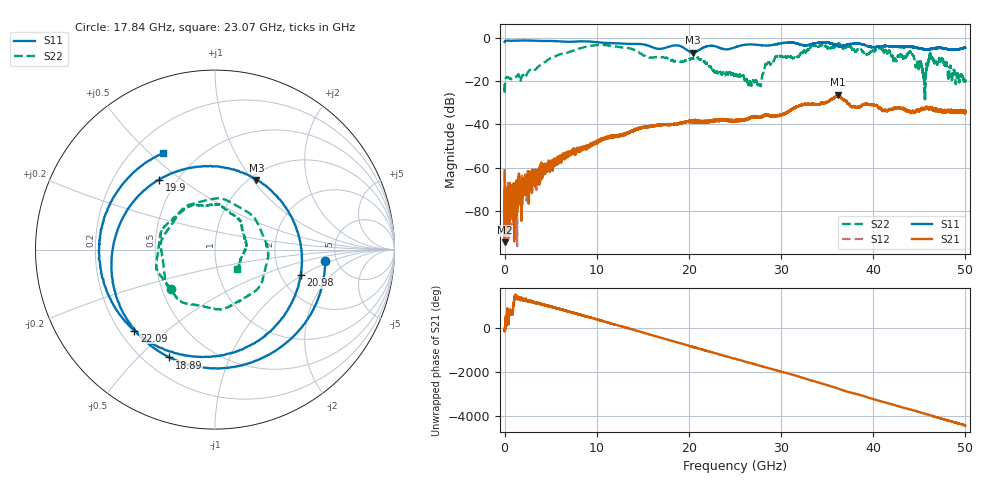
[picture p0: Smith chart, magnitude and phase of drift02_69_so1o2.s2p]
!Created with skrf (http://scikit-rf.org).
# Hz S RI R 50.0
!freq ReS11 ImS11 ReS21 ImS21 ReS12 ImS12 ReS22 ImS22
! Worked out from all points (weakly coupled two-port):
!   10001 points, 300 kHz to 50 GHz, reference 50 ohm
!   highest |S21| = -26.28 dB at 36.13 GHz (marker M1); lowest = -94.3 dB at 5.3 MHz (marker M2)
!   lowest |S11| = -6.9 dB at 20.4 GHz (marker M3), VSWR 2.65, Z = 53.6 + j52.2 ohm
!   |S11| at or under -10 dB: nowhere
!   |S22| runs from -29.7 to -2.5 dB; largest |S21 - S12| = 0.005
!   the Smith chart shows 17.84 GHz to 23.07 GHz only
!   S11 on the Smith chart (normalised r, x): 17.84 GHz: 4.06, -0.81; 18.89 GHz: 0.30, -0.62; 19.9 GHz: 0.40, +0.42; 20.98 GHz: 2.56, -0.96; 22.09 GHz: 0.26, -0.39; 23.07 GHz: 0.32, +0.55
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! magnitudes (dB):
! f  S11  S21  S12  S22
! 300 kHz  -2.1  -61.1  -62.5  -21.4
! 5.3 MHz  -2.1  -94.3  -75.1  -26.0
! 395.3 MHz  -1.4  -76.8  -76.5  -18.4
! 8.335 GHz  -1.7  -50.5  -51.1  -4.7
! 16.67 GHz  -5.2  -40.2  -40.3  -9.0
! 17.84 GHz  -4.2  -40.0  -40.1  -9.7
! 18.89 GHz  -3.7  -39.7  -39.6  -10.9
! 19.9 GHz  -6.0  -38.5  -38.6  -9.9
! 20.4 GHz  -6.9  -38.5  -38.2  -9.8
! 20.98 GHz  -6.1  -38.9  -38.6  -9.3
! 22.09 GHz  -3.9  -38.9  -38.6  -12.4
! 23.07 GHz  -4.3  -37.9  -38.0  -15.8
! 25 GHz  -4.5  -38.2  -38.4  -17.8
! 27.62 GHz  -3.5  -36.7  -36.6  -21.8
! 29.55 GHz  -3.0  -35.9  -36.3  -8.8
! 33.34 GHz  -3.0  -30.7  -30.5  -3.8
! 36.13 GHz  -3.9  -26.3  -26.9  -3.3
! 41.67 GHz  -4.0  -33.2  -33.4  -6.3
! 44.12 GHz  -4.1  -34.5  -34.5  -7.1
! 45.5 GHz  -5.4  -32.9  -32.9  -17.6
! 46.29 GHz  -5.3  -32.5  -32.5  -9.6
! 50 GHz  -4.7  -33.8  -34.4  -20.0
